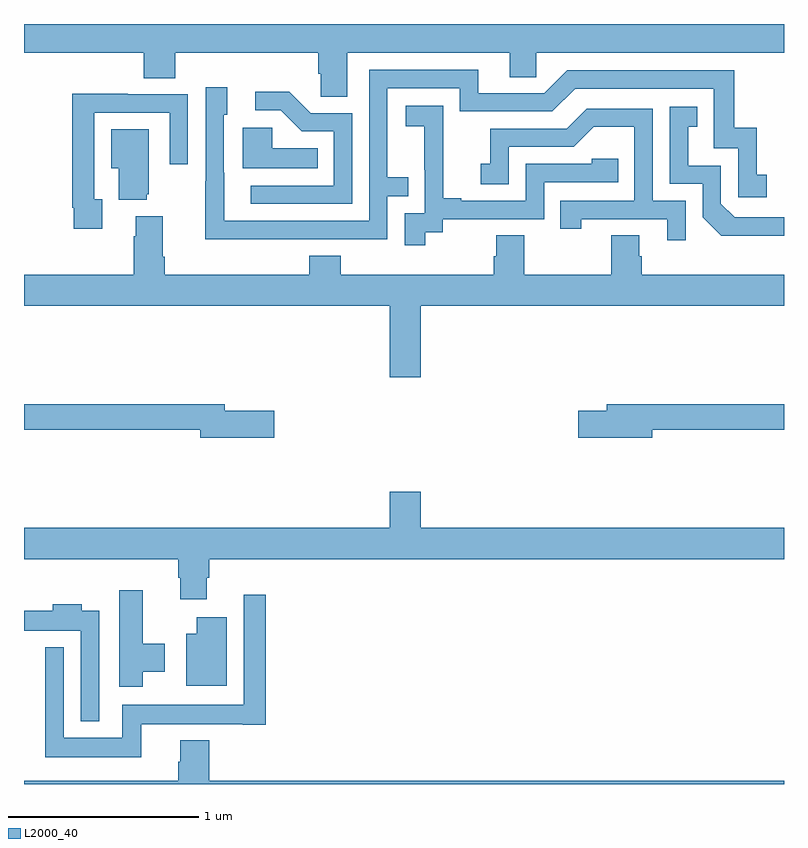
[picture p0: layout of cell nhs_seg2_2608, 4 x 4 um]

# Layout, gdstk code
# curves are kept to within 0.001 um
import gdstk
lib = gdstk.Library(unit=1e-6, precision=1e-09)
def P(c, l, *ps):  # polygons
    for p in ps: c.add(gdstk.Polygon(p, *l))
L2000_40 = (2000, 40)

nhs_seg2_2608 = lib.new_cell('nhs_seg2_2608')
P(nhs_seg2_2608, L2000_40, [(248.701,635.648),(249.557,635.648),(249.557,635.521),(249.696,635.521),(249.696,635.648),(251,635.648),(251,635.8),(247,635.8),(247,635.648),(247.631,635.648),(247.631,635.515),(247.796,635.515),(247.796,635.648),(248.549,635.648),(248.549,635.539),(248.562,635.539),(248.562,635.416),(248.701,635.416)],
  [(248.417,634.668),(248.913,634.668),(248.913,634.893),(249.023,634.893),(249.023,634.994),(248.913,634.994),(248.913,635.463),(249.294,635.463),(249.294,635.34),(249.78,635.34),(249.9,635.46),(250.629,635.46),(250.629,635.145),(250.758,635.145),(250.758,634.887),(250.909,634.887),(250.909,635.007),(250.856,635.007),(250.856,635.254),(250.738,635.254),(250.738,635.556),(249.858,635.556),(249.738,635.436),(249.391,635.436),(249.391,635.559),(248.817,635.559),(248.817,634.764),(248.053,634.764),(248.052,635.322),(248.071,635.322),(248.071,635.467),(247.956,635.467),(247.956,634.973),(247.954,634.973),(247.954,634.667)],
  [(248.727,635.331),(248.508,635.331),(248.395,635.444),(248.217,635.444),(248.217,635.346),(248.351,635.346),(248.462,635.235),(248.631,635.235),(248.631,634.95),(248.193,634.95),(248.193,634.854),(248.727,634.854)],
  [(247.411,634.878),(247.371,634.878),(247.371,635.334),(247.767,635.334),(247.767,635.061),(247.863,635.061),(247.863,635.43),(247.547,635.43),(247.547,635.432),(247.255,635.432),(247.255,634.834),(247.263,634.834),(247.263,634.722),(247.411,634.722)],
  [(249.112,634.705),(249.204,634.705),(249.204,634.773),(249.738,634.773),(249.738,634.968),(250.127,634.968),(250.127,635.091),(249.987,635.091),(249.987,635.064),(249.642,635.064),(249.642,634.869),(249.301,634.869),(249.301,634.882),(249.206,634.882),(249.206,635.165),(249.207,635.165),(249.207,635.371),(249.009,635.371),(249.009,635.261),(249.107,635.261),(249.107,635.033),(249.108,635.033),(249.108,634.803),(249.003,634.803),(249.003,634.635),(249.112,634.635)],
  [(251,634.782),(250.74,634.782),(250.668,634.854),(250.668,635.055),(250.495,635.055),(250.495,635.259),(250.544,635.259),(250.544,635.365),(250.398,635.365),(250.398,634.959),(250.572,634.959),(250.572,634.782),(250.67,634.685),(251,634.685)],
  [(250.482,634.869),(250.308,634.869),(250.308,635.355),(249.962,635.355),(249.857,635.25),(249.454,635.25),(249.454,635.065),(249.405,635.065),(249.405,634.956),(249.552,634.956),(249.552,635.154),(249.894,635.154),(249.998,635.258),(250.212,635.258),(250.212,634.869),(249.823,634.869),(249.823,634.722),(249.934,634.722),(249.934,634.773),(250.385,634.773),(250.385,634.662),(250.482,634.662)],
  [(248.546,635.146),(248.307,635.146),(248.307,635.254),(248.15,635.254),(248.15,635.042),(248.546,635.042)],
  [(247.646,634.905),(247.657,634.905),(247.657,635.245),(247.46,635.245),(247.46,635.042),(247.499,635.042),(247.499,634.874),(247.646,634.874)],
  [(249.088,634.316),(251,634.316),(251,634.48),(250.25,634.48),(250.25,634.578),(250.237,634.578),(250.237,634.688),(250.09,634.688),(250.09,634.48),(249.633,634.48),(249.633,634.688),(249.485,634.688),(249.485,634.578),(249.473,634.578),(249.473,634.48),(248.666,634.48),(248.666,634.579),(248.501,634.579),(248.501,634.48),(247.742,634.48),(247.742,634.576),(247.729,634.576),(247.729,634.789),(247.589,634.789),(247.589,634.682),(247.577,634.682),(247.577,634.48),(247,634.48),(247,634.316),(248.924,634.316),(248.924,633.942),(249.088,633.942)],
  [(250.306,633.664),(251,633.664),(251,633.8),(250.067,633.8),(250.067,633.764),(249.918,633.764),(249.918,633.622),(250.306,633.622)],
  [(248.317,633.764),(248.056,633.764),(248.056,633.8),(247,633.8),(247,633.664),(247.928,633.664),(247.928,633.622),(248.317,633.622)],
  [(247.963,632.886),(247.976,632.886),(247.976,632.984),(251,632.984),(251,633.148),(249.088,633.148),(249.088,633.337),(248.924,633.337),(248.924,633.148),(247,633.148),(247,632.984),(247.811,632.984),(247.811,632.886),(247.823,632.886),(247.823,632.772),(247.963,632.772)],
  [(247.624,632.39),(247.741,632.39),(247.741,632.538),(247.624,632.538),(247.624,632.821),(247.502,632.821),(247.502,632.313),(247.624,632.313)],
  [(247.616,632.114),(248.15,632.114),(248.15,632.112),(248.273,632.112),(248.273,632.797),(248.157,632.797),(248.157,632.218),(247.518,632.218),(247.518,632.044),(247.209,632.044),(247.209,632.521),(247.112,632.521),(247.112,631.94),(247.616,631.94)],
  [(247.395,632.713),(247.303,632.713),(247.303,632.746),(247.151,632.746),(247.151,632.713),(247,632.713),(247,632.606),(247.299,632.606),(247.299,632.129),(247.395,632.129)],
  [(248.068,632.677),(247.91,632.677),(247.91,632.59),(247.853,632.59),(247.853,632.318),(248.068,632.318)],
  [(251,631.816),(247.976,631.816),(247.976,632.029),(247.823,632.029),(247.823,631.917),(247.811,631.917),(247.811,631.816),(247,631.816),(247,631.8),(251,631.8)])

lib.write_gds('nhs_seg2_2608.gds')
